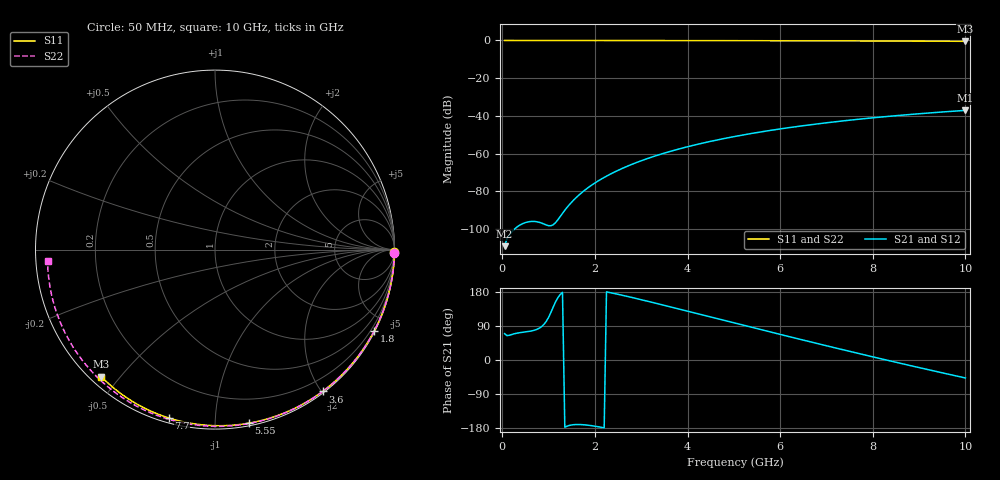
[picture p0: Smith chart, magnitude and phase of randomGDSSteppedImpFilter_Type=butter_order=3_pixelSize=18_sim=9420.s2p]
! freq	dB(S11)	phase(S11)	dB(S12)	phase(S12)
!  dB(S21)	phase(S21)	dB(S22)	phase(S22)
!S-par simulation data
#  GHz  S  DB  R 50
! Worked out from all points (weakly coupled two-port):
!   200 points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, 50 MHz to 10 GHz, reference 50 ohm
!   highest |S21| = -37.09 dB at 10 GHz (marker M1); lowest = -109.1 dB at 50 MHz (marker M2)
!   lowest |S11| = -0.4 dB at 10 GHz (marker M3), VSWR 38.89, Z = 1.54 - j22.4 ohm
!   |S11| at or under -10 dB: nowhere
!   |S22| runs from -0.6 to 0.0 dB; largest |S21 - S12| = 0
!   S11 on the Smith chart (normalised r, x): 50 MHz: open; 1.8 GHz: 0.04, -4.16; 3.6 GHz: 0.02, -2.01; 5.55 GHz: 0.02, -1.22; 7.7 GHz: 0.02, -0.76; 10 GHz: 0.03, -0.45
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0.05  -0.00 -0.8  -109.14 69.5  -109.14 69.5  -0.00 -1.0
0.45  -0.01 -6.9  -97.08 73.3  -97.08 73.3  -0.01 -9.1
0.85  -0.02 -12.9  -96.90 88.3  -96.90 88.3  -0.02 -17.1
1.3  -0.02 -19.6  -91.73 178.6  -91.73 178.6  -0.03 -26.1
1.75  -0.03 -26.3  -80.03 -170.8  -80.03 -170.8  -0.04 -34.9
1.8  -0.03 -27.0  -79.07 -171.4  -79.07 -171.4  -0.05 -35.9
1.95  -0.04 -29.2  -76.43 -173.7  -76.43 -173.7  -0.05 -38.8
2.1  -0.04 -31.4  -74.09 -176.7  -74.09 -176.7  -0.05 -41.7
2.3  -0.04 -34.3  -71.33 178.6  -71.33 178.6  -0.06 -45.5
2.5  -0.05 -37.2  -68.90 173.3  -68.90 173.3  -0.06 -49.3
2.9  -0.06 -43.0  -64.75 162.1  -64.75 162.1  -0.07 -56.8
3.4  -0.07 -50.0  -60.51 147.2  -60.51 147.2  -0.09 -66.0
3.6  -0.07 -52.8  -59.04 141.1  -59.04 141.1  -0.09 -69.6
4.3  -0.09 -62.4  -54.61 119.6  -54.61 119.6  -0.12 -82.1
5.05  -0.11 -72.4  -50.80 96.5  -50.80 96.5  -0.15 -95.0
5.55  -0.13 -78.9  -48.65 81.2  -48.65 81.2  -0.17 -103.3
6.1  -0.15 -85.9  -46.57 64.5  -46.57 64.5  -0.20 -112.4
6.7  -0.18 -93.3  -44.58 46.5  -44.58 46.5  -0.24 -122.1
7.7  -0.24 -105.3  -41.78 17.0  -41.78 17.0  -0.32 -138.2
8.35  -0.29 -112.9  -40.24 -1.7  -40.24 -1.7  -0.38 -148.6
9.2  -0.36 -122.7  -38.50 -25.6  -38.50 -25.6  -0.48 -162.6
10  -0.45 -131.8  -37.09 -47.4  -37.09 -47.4  -0.59 -176.2
